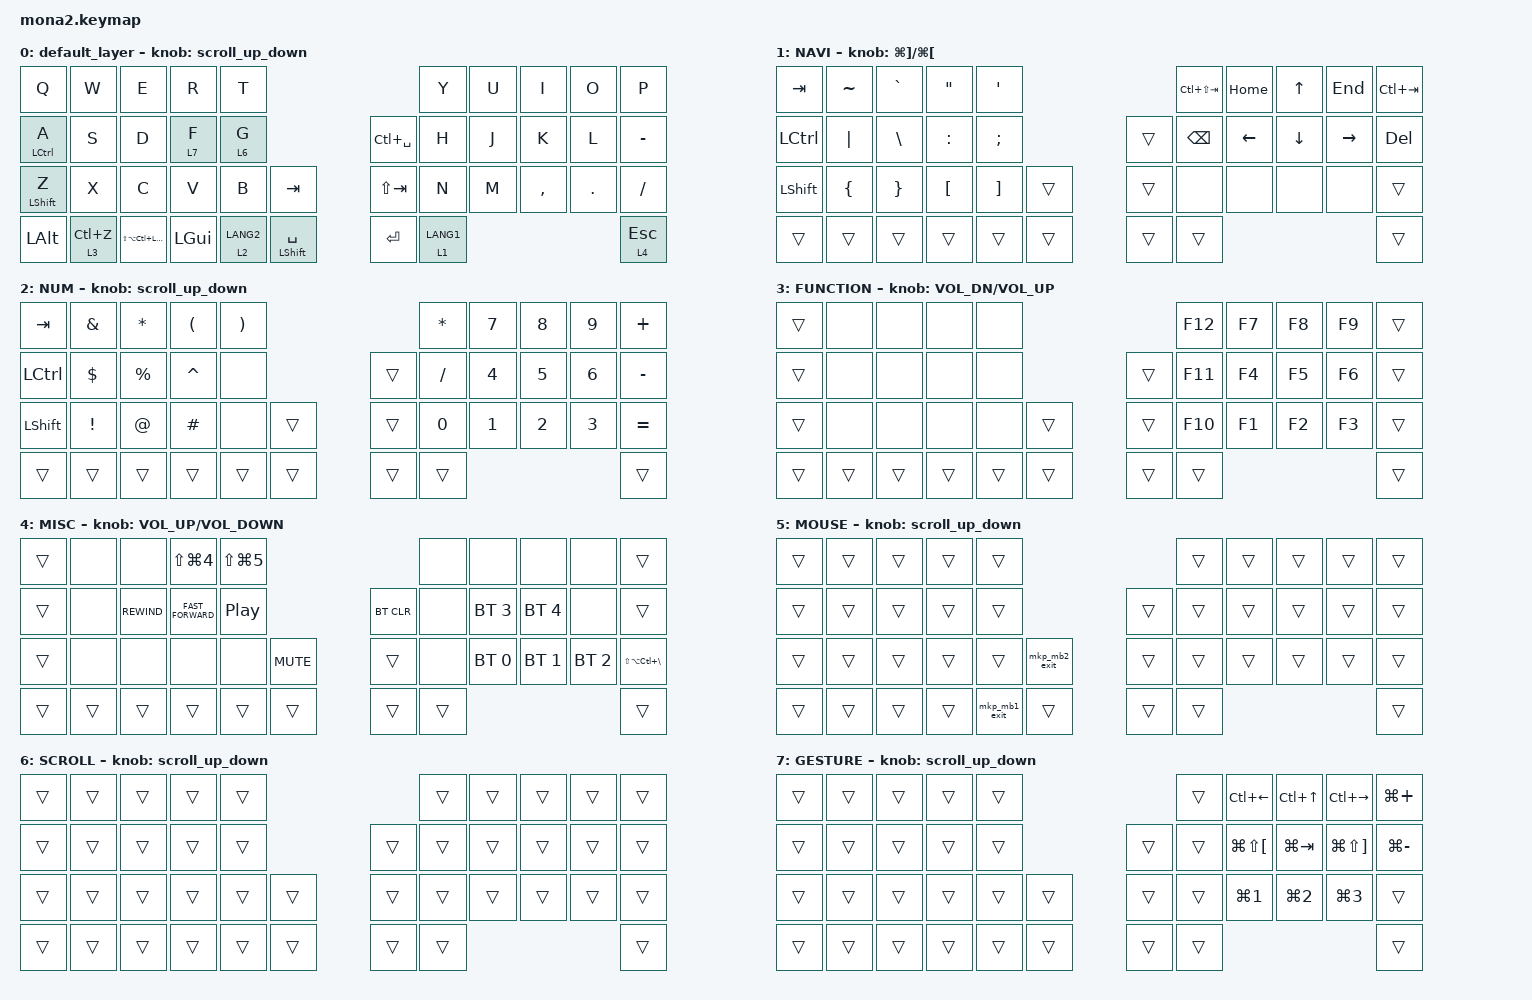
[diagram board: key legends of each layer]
#include <input/processors.dtsi>
#include <dt-bindings/zmk/input_transform.h>
#include <zephyr/dt-bindings/input/input-event-codes.h>
#include <behaviors.dtsi>
#include <dt-bindings/zmk/bt.h>
#include <dt-bindings/zmk/keys.h>
#include <dt-bindings/zmk/pointing.h>

#define ZMK_POINTING_DEFAULT_SCRL_VAL 100
#define MOUSE 5
#define SCROLL 6
#define GESTURE 7

&mt {
    flavor = "balanced";
    quick-tap-ms = <0>;
};

&lt {
    quick-tap-ms = <300>;
    flavor = "balanced";
};

/ {
    zip_keybind_gesture: zip_keybind_gesture {
        compatible = "zmk,input-processor-keybind";
        #input-processor-cells = <0>;
        bindings =
            <&kp LG(RIGHT_BRACKET)>,
            <&kp LG(LEFT_BRACKET)>,
            <&kp LG(W)>,
            <&kp LG(T)>;

        tick = <60>;
        tap-ms = <10>;
        mode = <1>;
        track_remainders;
    };

    combos {
        compatible = "zmk,combos";

        layer4_ESC {
            bindings = <&lt 4 ESC>;
            key-positions = <39 38>;
        };

        tab {
            bindings = <&kp TAB>;
            key-positions = <11 12>;
        };
    };

    macros {
        to_layer_0: to_layer_0 {
            compatible = "zmk,behavior-macro-one-param";
            #binding-cells = <1>;
            bindings = <&to 0 &macro_param_1to1 &kp MACRO_PLACEHOLDER>;
            label = "TO_LAYER_0";
        };

        mkp_mb1_exit: mkp_mb1_exit {
            compatible = "zmk,behavior-macro";
            #binding-cells = <0>;
            bindings =
                <&macro_press>,
                <&mkp MB1>,
                <&macro_pause_for_release>,
                <&macro_release>,
                <&mkp MB1 &to 0>;

            label = "MKP_MB1_EXIT";
        };

        mkp_mb2_exit: mkp_mb2_exit {
            compatible = "zmk,behavior-macro";
            #binding-cells = <0>;
            bindings =
                <&macro_press>,
                <&mkp MB2>,
                <&macro_pause_for_release>,
                <&macro_release>,
                <&mkp MB2 &to 0>;

            label = "MKP_MB2_EXIT";
        };

        mkp_mb3_exit: mkp_mb3_exit {
            compatible = "zmk,behavior-macro";
            #binding-cells = <0>;
            bindings =
                <&macro_press>,
                <&mkp MB3>,
                <&macro_pause_for_release>,
                <&macro_release>,
                <&mkp MB3 &to 0>;

            label = "MKP_MB3_EXIT";
        };
    };

    behaviors {
        lt_to_layer_0: lt_to_layer_0 {
            compatible = "zmk,behavior-hold-tap";
            label = "LAYER_TAP_TO_0";
            bindings = <&mo>, <&to_layer_0>;

            #binding-cells = <2>;
            tapping-term-ms = <200>;
        };

        scroll_up_down: mouse_wheel_up_down {
            compatible = "zmk,behavior-sensor-rotate";
            #sensor-binding-cells = <0>;
            bindings = <&msc SCRL_DOWN>, <&msc SCRL_UP>;

            tap-ms = <20>;
        };

        scroll_right_left: mouse_wheel_right_left {
            compatible = "zmk,behavior-sensor-rotate";
            #sensor-binding-cells = <0>;
            bindings = <&msc SCRL_LEFT>, <&msc SCRL_RIGHT>;

            tap-ms = <20>;
        };
    };

    keymap {
        compatible = "zmk,keymap";

        default_layer {
            bindings = <
&kp Q               &kp W        &kp E                 &kp R         &kp T                                               &kp Y        &kp U  &kp I      &kp O    &kp P
&mt LEFT_CONTROL A  &kp S        &kp D                 &lt 7 F       &lt 6 G                              &kp LC(SPACE)  &kp H        &kp J  &kp K      &kp L    &kp MINUS
&mt LEFT_SHIFT Z    &kp X        &kp C                 &kp V         &kp B        &kp TAB                 &kp LS(TAB)    &kp N        &kp M  &kp COMMA  &kp DOT  &kp SLASH
&kp LEFT_ALT        &lt 3 LC(Z)  &kp LS(LA(LC(LGUI)))  &kp LEFT_GUI  &lt 2 LANG2  &mt LEFT_SHIFT SPACE    &kp ENTER      &lt 1 LANG1                             &lt 4 ESCAPE
            >;

            sensor-bindings = <&scroll_up_down>;
        };

        NAVI {
            bindings = <
&kp TAB           &kp TILDE       &kp GRAVE        &kp DOUBLE_QUOTES  &kp SQT                              &kp LC(LS(TAB))  &kp HOME  &kp UP_ARROW  &kp END    &kp LC(TAB)
&kp LEFT_CONTROL  &kp PIPE        &kp BACKSLASH    &kp COLON          &kp SEMI                     &trans  &kp BACKSPACE    &kp LEFT  &kp DOWN      &kp RIGHT  &kp DELETE
&kp LEFT_SHIFT    &kp LEFT_BRACE  &kp RIGHT_BRACE  &kp LEFT_BRACKET   &kp RIGHT_BRACKET  &trans    &trans  &none            &none     &none         &none      &trans
&trans            &trans          &trans           &trans             &trans             &trans    &trans  &trans                                              &trans
            >;

            sensor-bindings = <&inc_dec_kp LG(RIGHT_BRACKET) LG(LEFT_BRACKET)>;
        };

        NUM {
            bindings = <
&kp TAB           &kp AMPERSAND    &kp ASTERISK  &kp LEFT_PARENTHESIS  &kp RIGHT_PARENTHESIS                    &kp ASTERISK  &kp N7        &kp N8        &kp N9        &kp PLUS
&kp LEFT_CONTROL  &kp DOLLAR       &kp PERCENT   &kp CARET             &none                            &trans  &kp SLASH     &kp NUMBER_4  &kp N5        &kp NUMBER_6  &kp MINUS
&kp LEFT_SHIFT    &kp EXCLAMATION  &kp AT_SIGN   &kp HASH              &none                  &trans    &trans  &kp N0        &kp NUMBER_1  &kp NUMBER_2  &kp NUMBER_3  &kp EQUAL
&trans            &trans           &trans        &trans                &trans                 &trans    &trans  &trans                                                  &trans
            >;

            sensor-bindings = <&scroll_up_down>;
        };

        FUNCTION {
            bindings = <
&trans  &none   &none   &none   &none                     &kp F12  &kp F7  &kp F8  &kp F9  &trans
&trans  &none   &none   &none   &none             &trans  &kp F11  &kp F4  &kp F5  &kp F6  &trans
&trans  &none   &none   &none   &none   &trans    &trans  &kp F10  &kp F1  &kp F2  &kp F3  &trans
&trans  &trans  &trans  &trans  &trans  &trans    &trans  &trans                           &trans
            >;

            sensor-bindings = <&inc_dec_kp C_VOL_DN C_VOL_UP>;
        };

        MISC {
            bindings = <
&trans  &none   &none         &kp LS(LG(NUMBER_4))  &kp LS(LG(N5))                              &none   &none         &none         &none         &trans
&trans  &none   &kp C_REWIND  &kp C_FAST_FORWARD    &kp C_PLAY_PAUSE                &bt BT_CLR  &none   &bt BT_SEL 3  &bt BT_SEL 4  &none         &trans
&trans  &none   &none         &none                 &none             &kp K_MUTE    &trans      &none   &bt BT_SEL 0  &bt BT_SEL 1  &bt BT_SEL 2  &kp LS(LA(LC(BACKSLASH)))
&trans  &trans  &trans        &trans                &trans            &trans        &trans      &trans                                            &trans
            >;

            sensor-bindings = <&inc_dec_kp C_VOLUME_UP C_VOLUME_DOWN>;
        };

        MOUSE {
            bindings = <
&trans  &trans  &trans  &trans  &trans                                  &trans  &trans  &trans  &trans  &trans
&trans  &trans  &trans  &trans  &trans                          &trans  &trans  &trans  &trans  &trans  &trans
&trans  &trans  &trans  &trans  &trans         &mkp_mb2_exit    &trans  &trans  &trans  &trans  &trans  &trans
&trans  &trans  &trans  &trans  &mkp_mb1_exit  &trans           &trans  &trans                          &trans
            >;

            sensor-bindings = <&scroll_up_down>;
        };

        SCROLL {
            bindings = <
&trans  &trans  &trans  &trans  &trans                    &trans  &trans  &trans  &trans  &trans
&trans  &trans  &trans  &trans  &trans            &trans  &trans  &trans  &trans  &trans  &trans
&trans  &trans  &trans  &trans  &trans  &trans    &trans  &trans  &trans  &trans  &trans  &trans
&trans  &trans  &trans  &trans  &trans  &trans    &trans  &trans                          &trans
            >;

            sensor-bindings = <&scroll_up_down>;
        };

        GESTURE {
            bindings = <
&trans  &trans  &trans  &trans  &trans                    &trans  &kp LC(LEFT)              &kp LC(UP_ARROW)  &kp LC(RIGHT)              &kp LG(PLUS)
&trans  &trans  &trans  &trans  &trans            &trans  &trans  &kp LG(LS(LEFT_BRACKET))  &kp LG(TAB)       &kp LG(LS(RIGHT_BRACKET))  &kp LG(MINUS)
&trans  &trans  &trans  &trans  &trans  &trans    &trans  &trans  &kp LG(NUMBER_1)          &kp LG(NUMBER_2)  &kp LG(NUMBER_3)           &trans
&trans  &trans  &trans  &trans  &trans  &trans    &trans  &trans                                                                         &trans
            >;

            sensor-bindings = <&scroll_up_down>;
        };
    };
};

&trackball_central_listener {
    gesture {
        layers = <GESTURE>;
        process-next;
        input-processors = <&zip_keybind_gesture>;
    };
};
